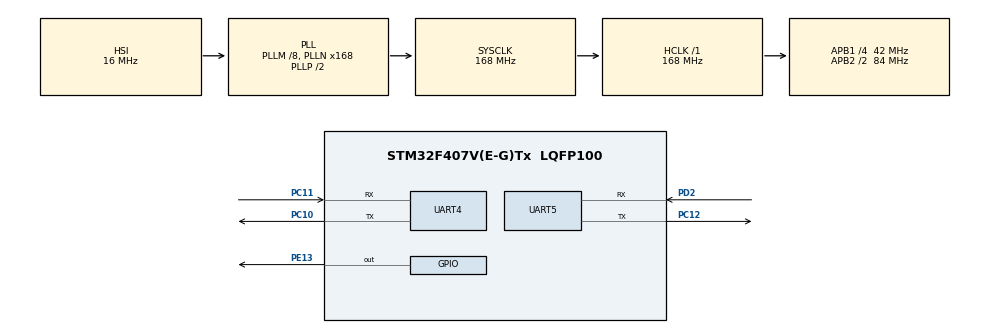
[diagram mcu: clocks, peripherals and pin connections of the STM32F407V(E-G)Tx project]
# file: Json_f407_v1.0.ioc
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Mcu.Family=STM32F4
Mcu.Name=STM32F407V(E-G)Tx
Mcu.Package=LQFP100
NVIC.PriorityGroup=NVIC_PRIORITYGROUP_4
NVIC.UART4_IRQn=true\:0\:0\:false\:false\:true\:true\:true\:true
NVIC.UART5_IRQn=true\:0\:0\:false\:false\:true\:true\:true\:true
PA13.Mode=Serial_Wire
PA13.Signal=SYS_JTMS-SWDIO
PA14.Mode=Serial_Wire
PA14.Signal=SYS_JTCK-SWCLK
PC10.Mode=Asynchronous
PC10.Signal=UART4_TX
PC11.Mode=Asynchronous
PC11.Signal=UART4_RX
PC12.Mode=Asynchronous
PC12.Signal=UART5_TX
PD2.Mode=Asynchronous
PD2.Signal=UART5_RX
PE13.GPIO_Speed=GPIO_SPEED_FREQ_VERY_HIGH
PE13.PinState=GPIO_PIN_RESET
PE13.Signal=GPIO_Output
PH0-OSC_IN.Mode=HSE-External-Oscillator
PH0-OSC_IN.Signal=RCC_OSC_IN
PH1-OSC_OUT.Mode=HSE-External-Oscillator
PH1-OSC_OUT.Signal=RCC_OSC_OUT
ProjectManager.HeapSize=0x200
ProjectManager.StackSize=0x400
ProjectManager.TargetToolchain=MDK-ARM V5.32
RCC.48MHZClocksFreq_Value=84000000
RCC.AHBFreq_Value=168000000
RCC.APB1CLKDivider=RCC_HCLK_DIV4
RCC.APB1Freq_Value=42000000
RCC.APB1TimFreq_Value=84000000
RCC.APB2CLKDivider=RCC_HCLK_DIV2
RCC.APB2Freq_Value=84000000
RCC.APB2TimFreq_Value=168000000
RCC.CortexFreq_Value=168000000
RCC.HCLKFreq_Value=168000000
RCC.HSE_VALUE=25000000
RCC.HSI_VALUE=16000000
RCC.LSE_VALUE=32768
RCC.PLLM=8
RCC.PLLN=168
RCC.SYSCLKFreq_VALUE=168000000
RCC.SYSCLKSource=RCC_SYSCLKSOURCE_PLLCLK
RCC.VCOOutputFreq_Value=336000000
UART4.VirtualMode=Asynchronous
UART5.VirtualMode=Asynchronous
board=custom

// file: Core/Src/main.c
/* USER CODE BEGIN Header */
/**
  ******************************************************************************
  * @file           : main.c
  * @brief          : Main program body
  ******************************************************************************
  * @attention
  *
  * Copyright (c) 2025 STMicroelectronics.
  * All rights reserved.
  *
  * This software is licensed under terms that can be found in the LICENSE file
  * in the root directory of this software component.
  * If no LICENSE file comes with this software, it is provided AS-IS.
  *
  ******************************************************************************
  */
/* USER CODE END Header */
#include "main.h"
#include "usart.h"
#include "gpio.h"

/* USER CODE BEGIN Includes */
#include <stdint.h>
#include <string.h>
#include <stdio.h>
#include "cJSON.h"
#include "json_process.h"
/* USER CODE END Includes */

void SystemClock_Config(void);

/* USER CODE BEGIN 0 */
//重定向printf
int fputc(int ch,FILE *f)
{
  uint8_t temp[1]={ch};
  HAL_UART_Transmit(&huart4,temp,1,2);
  return ch;
}
/* USER CODE END 0 */

int main(void)
{

  /* MCU Configuration--------------------------------------------------------*/

  /* Reset of all peripherals, Initializes the Flash interface and the Systick. */
  HAL_Init();

  /* Configure the system clock */
  SystemClock_Config();

  /* Initialize all configured peripherals */
  MX_GPIO_Init();
  MX_UART4_Init();
  MX_UART5_Init();
  /* USER CODE BEGIN 2 */
  printf("STM32F407 USART4 JSON Parser Ready\r\n");
  JSON_Process_Init();
  HAL_Delay(2000);

  /* USER CODE END 2 */

  /* Infinite loop */
  while (1)
  {
}
}

void SystemClock_Config(void)
{
  RCC_OscInitTypeDef RCC_OscInitStruct = {0};
  RCC_ClkInitTypeDef RCC_ClkInitStruct = {0};

  /** Configure the main internal regulator output voltage
  */
  __HAL_RCC_PWR_CLK_ENABLE();
  __HAL_PWR_VOLTAGESCALING_CONFIG(PWR_REGULATOR_VOLTAGE_SCALE1);

  /** Initializes the RCC Oscillators according to the specified parameters
  * in the RCC_OscInitTypeDef structure.
  */
  RCC_OscInitStruct.OscillatorType = RCC_OSCILLATORTYPE_HSI;
  RCC_OscInitStruct.HSIState = RCC_HSI_ON;
  RCC_OscInitStruct.HSICalibrationValue = RCC_HSICALIBRATION_DEFAULT;
  RCC_OscInitStruct.PLL.PLLState = RCC_PLL_ON;
  RCC_OscInitStruct.PLL.PLLSource = RCC_PLLSOURCE_HSI;
  RCC_OscInitStruct.PLL.PLLM = 8;
  RCC_OscInitStruct.PLL.PLLN = 168;
  RCC_OscInitStruct.PLL.PLLP = RCC_PLLP_DIV2;
  RCC_OscInitStruct.PLL.PLLQ = 4;
  if (HAL_RCC_OscConfig(&RCC_OscInitStruct) != HAL_OK)
  {
    Error_Handler();
  }

  /** Initializes the CPU, AHB and APB buses clocks
  */
  RCC_ClkInitStruct.ClockType = RCC_CLOCKTYPE_HCLK|RCC_CLOCKTYPE_SYSCLK
                              |RCC_CLOCKTYPE_PCLK1|RCC_CLOCKTYPE_PCLK2;
  RCC_ClkInitStruct.SYSCLKSource = RCC_SYSCLKSOURCE_PLLCLK;
  RCC_ClkInitStruct.AHBCLKDivider = RCC_SYSCLK_DIV1;
  RCC_ClkInitStruct.APB1CLKDivider = RCC_HCLK_DIV4;
  RCC_ClkInitStruct.APB2CLKDivider = RCC_HCLK_DIV2;

  if (HAL_RCC_ClockConfig(&RCC_ClkInitStruct, FLASH_LATENCY_5) != HAL_OK)
  {
    Error_Handler();
  }
}

void Error_Handler(void)
{
  /* USER CODE BEGIN Error_Handler_Debug */
  /* User can add his own implementation to report the HAL error return state */
  __disable_irq();
  while (1)
  {
    printf("Error");
    HAL_GPIO_TogglePin(GPIOD, GPIO_PIN_12);  // LED 闪烁表示错误
    HAL_Delay(500);
  }
  /* USER CODE END Error_Handler_Debug */
}
